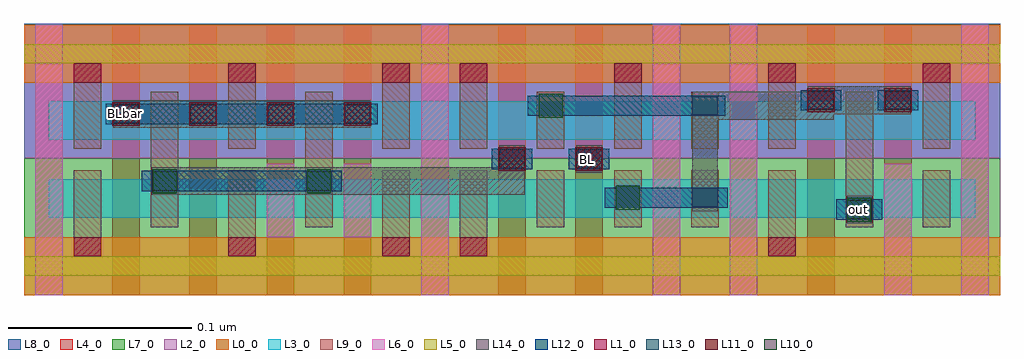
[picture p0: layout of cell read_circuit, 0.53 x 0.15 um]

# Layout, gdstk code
from math import pi, radians
import gdstk
lib = gdstk.Library(unit=1e-6, precision=5e-10)
def R(c, l, rs):  # rectangles x0, y0, x1, y1
    for r in rs: c.add(gdstk.rectangle(r[:2], r[2:], *l))
def A(c, l, x, y, w, h, nx, ny, dx, dy):  # array of equal rectangles
    R(c, l, [(x+i*dx, y+j*dy, x+i*dx+w, y+j*dy+h) for i in range(nx) for j in range(ny)])
L0_0 = (0, 0)
L1_0 = (1, 0)
L2_0 = (2, 0)
L3_0 = (3, 0)
L4_0 = (4, 0)
L5_0 = (5, 0)
L6_0 = (6, 0)
L7_0 = (7, 0)
L8_0 = (8, 0)
L9_0 = (9, 0)
L10_0 = (10, 0)
L11_0 = (11, 0)
L12_0 = (12, 0)
L13_0 = (13, 0)
L14_0 = (14, 0)

nmos = lib.new_cell('nmos')
R(nmos, L3_0, [(-0.042,-0.0105,0.042,0.0105)])
A(nmos, L4_0, -0.0495, -0.032, 0.015, 0.064, 3, 1, 0.042, 0)
R(nmos, L7_0, [(-0.0555,-0.021,0.0555,0.0205)])
R(nmos, L9_0, [(-0.0285,-0.0155,-0.0135,0.0155), (0.0135,-0.0155,0.0285,0.0155)])

pmos = lib.new_cell('pmos')
R(pmos, L2_0, [(-0.042,-0.0205,0.042,0.0205)])
R(pmos, L3_0, [(-0.042,-0.0105,0.042,0.0105)])
A(pmos, L4_0, -0.0495, -0.032, 0.015, 0.064, 3, 1, 0.042, 0)
R(pmos, L8_0, [(-0.0555,-0.0205,0.0555,0.0205)])
R(pmos, L9_0, [(-0.0285,-0.0155,-0.0135,0.0155), (0.0135,-0.0155,0.0285,0.0155)])

bpr_m0a = lib.new_cell('BPR_M0A')
R(bpr_m0a, L0_0, [(-0.021,-0.0055,0.021,0.026)])
R(bpr_m0a, L1_0, [(-0.0075,-0.0055,0.0075,0.005)])
R(bpr_m0a, L9_0, [(-0.0075,-0.0165,0.0075,0.005)])

m0a_m0b = lib.new_cell('M0A_M0B')
R(m0a_m0b, L9_0, [(-0.0075,-0.0055,0.0075,0.0055)])
R(m0a_m0b, L10_0, [(-0.0065,-0.0065,0.0065,0.0065)])
R(m0a_m0b, L12_0, [(-0.0125,-0.0055,0.0125,0.0055)])

gate_m0b = lib.new_cell('GATE_M0B')
R(gate_m0b, L4_0, [(-0.0075,-0.0115,0.0075,0.0115)])
R(gate_m0b, L11_0, [(-0.0075,-0.0065,0.0075,0.0065)])
R(gate_m0b, L12_0, [(-0.011,-0.0055,0.011,0.0055)])

m0b_m1 = lib.new_cell('M0B_M1')
R(m0b_m1, L12_0, [(-0.011,-0.005,0.011,0.005)])
R(m0b_m1, L13_0, [(-0.007,-0.005,0.007,0.005)])
R(m0b_m1, L14_0, [(-0.007,-0.0075,0.007,0.0075)])

inv = lib.new_cell('inv')
R(inv, L0_0, [(0,0,0.153,0.0315), (0.025,0.006,0.0415,0.016), (0,0.1155,0.153,0.147), (0.11,0.131,0.125,0.1425)])
R(inv, L2_0, [(0,0.0745,0.153,0.147)])
A(inv, L4_0, 0.006, 0, 0.015, 0.147, 4, 1, 0.042, 0)
R(inv, L5_0, [(0,0.0105,0.153,0.021), (0,0.126,0.153,0.1365)])
R(inv, L6_0, [(0.006,0,0.021,0.147), (0.09,0,0.105,0.0715), (0.132,0,0.147,0.147)])
R(inv, L7_0, [(0,0,0.153,0.0745)])
R(inv, L8_0, [(0,0.075,0.153,0.1475)])
R(inv, L9_0, [(0.069,0.068,0.084,0.0795)])
R(inv, L12_0, [(0.0915,0.103,0.1055,0.1095)])
R(inv, L14_0, [(0.071,0.0415,0.0815,0.051), (0.0485,0.0985,0.1045,0.1135)])
inv.add(gdstk.Reference(nmos, (0.0975,0.0525)))
inv.add(gdstk.Reference(nmos, (0.0555,0.0525)))
inv.add(gdstk.Reference(pmos, (0.0975,0.095)))
inv.add(gdstk.Reference(pmos, (0.0555,0.095)))
inv.add(gdstk.Reference(bpr_m0a, (0.0345,0.026), rotation=pi))
inv.add(gdstk.Reference(bpr_m0a, (0.0345,0.121)))
inv.add(gdstk.Reference(bpr_m0a, (0.1185,0.121)))
inv.add(gdstk.Reference(m0a_m0b, (0.0765,0.0465)))
inv.add(gdstk.Reference(gate_m0b, (0.0555,0.106)))
inv.add(gdstk.Reference(gate_m0b, (0.0975,0.106)))
inv.add(gdstk.Reference(m0b_m1, (0.0555,0.106)))
inv.add(gdstk.Reference(m0b_m1, (0.0765,0.0465)))
inv.add(gdstk.Reference(m0b_m1, (0.0975,0.106)))
inv.add(gdstk.Label('vdd!', (0.1175,0.1365), layer=0, texttype=0))
inv.add(gdstk.Label('gnd!', (0.033,0.011), layer=0, texttype=0))
inv.add(gdstk.Label('out', (0.075,0.0435), layer=14, texttype=0))
inv.add(gdstk.Label('in', (0.0985,0.1045), layer=14, texttype=0))

nand = lib.new_cell('nand')
R(nand, L0_0, [(0.1045,0.057,0.2155,0.0885), (0.1465,0.057,0.2995,0.0885), (0.133,0.0665,0.142,0.074), (0.1045,0.1725,0.2155,0.204), (0.1465,0.1725,0.2995,0.204), (0.137,0.192,0.143,0.198)])
R(nand, L2_0, [(0.1045,0.1315,0.2155,0.204), (0.1465,0.1315,0.2995,0.204)])
A(nand, L4_0, 0.1105, 0.057, 0.015, 0.147, 5, 1, 0.042, 0)
R(nand, L4_0, [(0.2785,0.057,0.2935,0.204)])
R(nand, L5_0, [(0.1045,0.0675,0.2995,0.078), (0.1045,0.183,0.2995,0.1935)])
R(nand, L6_0, [(0.1105,0.057,0.1255,0.204), (0.2365,0.057,0.2515,0.204), (0.2785,0.057,0.2935,0.204)])
R(nand, L7_0, [(0.1045,0.057,0.2155,0.1315), (0.1465,0.057,0.2995,0.1315)])
R(nand, L8_0, [(0.1045,0.132,0.2155,0.2045), (0.1465,0.133,0.2995,0.2045)])
R(nand, L12_0, [(0.2105,0.1045,0.2775,0.1155), (0.1685,0.1545,0.276,0.1655)])
R(nand, L14_0, [(0.258,0.1025,0.272,0.1675), (0.1575,0.129,0.162,0.134), (0.2,0.1295,0.204,0.133), (0.262,0.1575,0.2675,0.1625)])
nand.add(gdstk.Reference(nmos, (0.244,0.1095), rotation=pi, x_reflection=True))
nand.add(gdstk.Reference(nmos, (0.16,0.1095), rotation=pi, x_reflection=True))
nand.add(gdstk.Reference(pmos, (0.16,0.152), rotation=pi, x_reflection=True))
nand.add(gdstk.Reference(pmos, (0.202,0.152), rotation=pi, x_reflection=True))
nand.add(gdstk.Reference(pmos, (0.244,0.152), rotation=pi, x_reflection=True))
nand.add(gdstk.Reference(bpr_m0a, (0.139,0.178), rotation=pi, x_reflection=True))
nand.add(gdstk.Reference(bpr_m0a, (0.139,0.083), x_reflection=True))
nand.add(gdstk.Reference(bpr_m0a, (0.223,0.178), rotation=pi, x_reflection=True))
nand.add(gdstk.Reference(m0a_m0b, (0.181,0.16)))
nand.add(gdstk.Reference(m0a_m0b, (0.223,0.11)))
nand.add(gdstk.Reference(m0b_m1, (0.265,0.16)))
nand.add(gdstk.Reference(m0b_m1, (0.265,0.11)))
nand.add(gdstk.Reference(m0b_m1, (0.202,0.131)))
nand.add(gdstk.Reference(m0b_m1, (0.16,0.131)))
nand.add(gdstk.Reference(gate_m0b, (0.202,0.131)))
nand.add(gdstk.Reference(gate_m0b, (0.16,0.131)))
nand.add(gdstk.Label('Y', (0.2645,0.16), layer=14, texttype=0))
nand.add(gdstk.Label('A', (0.1595,0.1315), layer=14, texttype=0))
nand.add(gdstk.Label('B', (0.202,0.131), layer=14, texttype=0))
nand.add(gdstk.Label('gnd!', (0.1375,0.07), layer=0, texttype=0))
nand.add(gdstk.Label('vdd!', (0.14,0.195), layer=0, texttype=0))

invx4 = lib.new_cell('invx4')
R(invx4, L0_0, [(0.006,0,0.243,0.0315), (0.033,0.0045,0.0535,0.0175), (0.006,0.1155,0.243,0.147), (0.194,0.131,0.215,0.143)])
R(invx4, L2_0, [(0.006,0.0745,0.243,0.147)])
A(invx4, L4_0, 0.012, 0, 0.015, 0.147, 6, 1, 0.042, 0)
R(invx4, L5_0, [(0.006,0.0105,0.243,0.021), (0.006,0.126,0.243,0.1365)])
R(invx4, L6_0, [(0.012,0,0.027,0.147), (0.222,0,0.237,0.147), (0.138,0.0315,0.153,0.0715), (0.18,0.0315,0.195,0.0715)])
R(invx4, L7_0, [(0.006,0,0.243,0.0745)])
R(invx4, L8_0, [(0.006,0.075,0.243,0.1475)])
R(invx4, L9_0, [(0.075,0.06,0.09,0.0795), (0.159,0.06,0.174,0.08)])
R(invx4, L12_0, [(0.07,0.0565,0.179,0.0675), (0.0505,0.093,0.1985,0.104)])
R(invx4, L14_0, [(0.0755,0.0545,0.1735,0.0695), (0.0795,0.058,0.0865,0.0645), (0.0545,0.091,0.1945,0.106), (0.079,0.0965,0.0855,0.1015)])
invx4.add(gdstk.Reference(bpr_m0a, (0.2085,0.121)))
invx4.add(gdstk.Reference(bpr_m0a, (0.1245,0.026), rotation=pi))
invx4.add(gdstk.Reference(bpr_m0a, (0.2085,0.026), rotation=pi))
invx4.add(gdstk.Reference(bpr_m0a, (0.0405,0.026), rotation=pi))
invx4.add(gdstk.Reference(bpr_m0a, (0.1245,0.121)))
invx4.add(gdstk.Reference(bpr_m0a, (0.0405,0.121)))
invx4.add(gdstk.Reference(gate_m0b, (0.0615,0.0985)))
invx4.add(gdstk.Reference(gate_m0b, (0.1035,0.0985)))
invx4.add(gdstk.Reference(gate_m0b, (0.1455,0.0985)))
invx4.add(gdstk.Reference(gate_m0b, (0.1875,0.0985)))
invx4.add(gdstk.Reference(m0a_m0b, (0.0825,0.062)))
invx4.add(gdstk.Reference(m0a_m0b, (0.1665,0.062)))
invx4.add(gdstk.Reference(nmos, (0.1875,0.0525)))
invx4.add(gdstk.Reference(nmos, (0.1455,0.0525)))
invx4.add(gdstk.Reference(nmos, (0.0615,0.0525)))
invx4.add(gdstk.Reference(nmos, (0.1035,0.0525)))
invx4.add(gdstk.Reference(pmos, (0.1875,0.095)))
invx4.add(gdstk.Reference(pmos, (0.1455,0.095)))
invx4.add(gdstk.Reference(pmos, (0.1035,0.095)))
invx4.add(gdstk.Reference(pmos, (0.0615,0.095)))
invx4.add(gdstk.Reference(m0b_m1, (0.0615,0.0985)))
invx4.add(gdstk.Reference(m0b_m1, (0.1035,0.0985)))
invx4.add(gdstk.Reference(m0b_m1, (0.1455,0.0985)))
invx4.add(gdstk.Reference(m0b_m1, (0.1875,0.0985)))
invx4.add(gdstk.Reference(m0b_m1, (0.0825,0.062)))
invx4.add(gdstk.Reference(m0b_m1, (0.1665,0.062)))
invx4.add(gdstk.Label('vdd!', (0.2045,0.137), layer=0, texttype=0))
invx4.add(gdstk.Label('gnd!', (0.043,0.011), layer=0, texttype=0))
invx4.add(gdstk.Label('in', (0.082,0.099), layer=14, texttype=0))
invx4.add(gdstk.Label('out', (0.083,0.061), layer=14, texttype=0))

read_circuit = lib.new_cell('read_circuit')
R(read_circuit, L14_0, [(0.449,0.0445,0.459,0.051), (0.1535,0.0555,0.2725,0.0705), (0.2585,0.0555,0.2725,0.0815), (0.302,0.0725,0.3115,0.078), (0.3635,0.0965,0.4405,0.1115), (0.4265,0.0965,0.4405,0.1145), (0.0505,0.097,0.06,0.103)])
read_circuit.add(gdstk.Reference(inv, (0.378,0.001)))
read_circuit.add(gdstk.Reference(nand, (0.1055,-0.056)))
read_circuit.add(gdstk.Reference(invx4, (-0.006,0.001)))
read_circuit.add(gdstk.Label('out', (0.454,0.0475), layer=14, texttype=0))
read_circuit.add(gdstk.Label('BL', (0.3065,0.075), layer=14, texttype=0))
read_circuit.add(gdstk.Label('BLbar', (0.055,0.1), layer=14, texttype=0))

lib.write_gds('read_circuit.gds')
